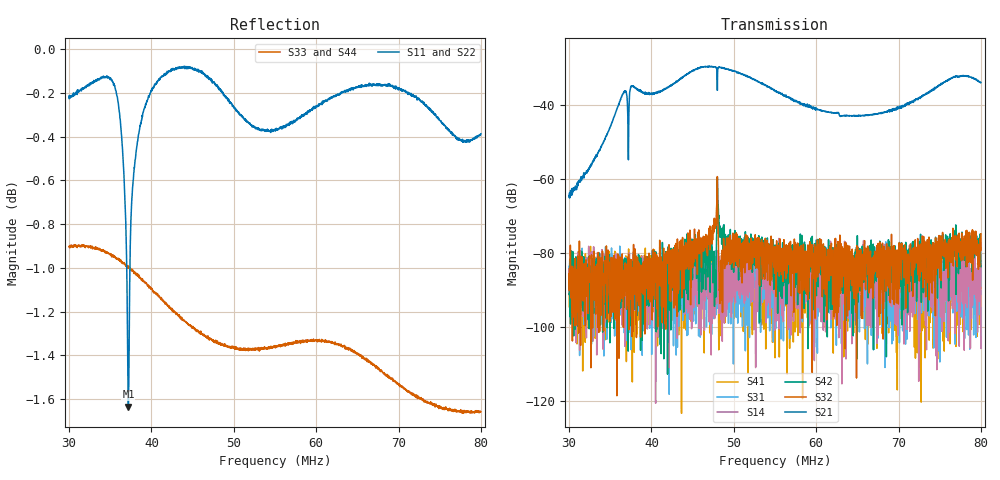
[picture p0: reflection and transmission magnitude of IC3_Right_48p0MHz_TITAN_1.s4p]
#  HZ  S  DB  R  50.00
! Rohde & Schwarz Vector Network Analyzer
! Rohde-Schwarz,ZNB8-4Port,1311601044102961,2.82
! Created: UTC 2/8/2019, 2:32:04 PM
! freq[Hz]  db:S11  ang:S11  db:S12  ang:S12  db:S13  ang:S13  db:S14  ang:S14
!  db:S21  ang:S21  db:S22  ang:S22  db:S23  ang:S23  db:S24  ang:S24
!  db:S31  ang:S31  db:S32  ang:S32  db:S33  ang:S33  db:S34  ang:S34
!  db:S41  ang:S41  db:S42  ang:S42  db:S43  ang:S43  db:S44  ang:S44
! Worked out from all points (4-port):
!   2001 points, 30 MHz to 80 MHz, reference 50 ohm
!   strongest paths, dB at 30 MHz, 42.5 MHz, 55 MHz, 67.5 MHz, 80 MHz:
!     S21: -64.5, -34.4, -36.2, -42.4, -33.9
!     S32: -85.6, -82.6, -85.3, -81.8, -74.8
!     S42: -91.2, -81.8, -77.8, -80.5, -83.6
!     S14: -84.3, -82.3, -84.3, -102.2, -105.8
!     S31: -83.6, -81.4, -85.9, -87.8, -88.9
!     S41: -87.2, -98.1, -108.3, -91.2, -81.0
!   lowest |S11| = -1.6 dB at 37.2 MHz (marker M1), VSWR 10.66, Z = 129 + j224 ohm
!   |S11| at or under -10 dB: nowhere
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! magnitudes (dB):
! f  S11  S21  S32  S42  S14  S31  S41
! 30 MHz  -0.2  -64.5  -85.6  -91.2  -84.3  -83.6  -87.2
! 37.2 MHz  -1.6  -54.8  -89.1  -93.5  -84.7  -93.6  -94.1
! 46.75 MHz  -0.1  -29.6  -78.5  -78.0  -80.7  -81.2  -85.8
! 47.83 MHz  -0.2  -29.8  -70.9  -91.5  -87.0  -96.7  -80.5
! 48.4 MHz  -0.2  -29.9  -86.7  -74.3  -89.4  -83.0  -84.5
! 63.1 MHz  -0.2  -42.9  -80.8  -78.6  -86.5  -83.9  -96.0
! 80 MHz  -0.4  -33.9  -74.8  -83.6  -105.8  -88.9  -81.0
